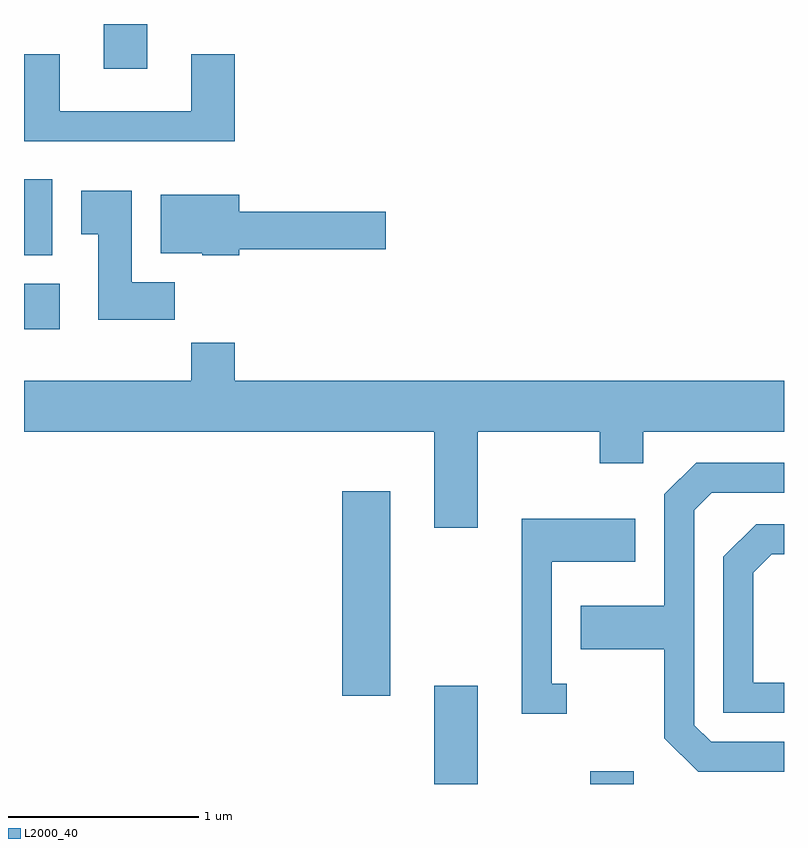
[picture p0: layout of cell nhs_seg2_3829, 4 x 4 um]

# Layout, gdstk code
import gdstk
lib = gdstk.Library(unit=1e-6, precision=1e-09)
def R(c, l, rs):  # rectangles x0, y0, x1, y1
    for r in rs: c.add(gdstk.rectangle(r[:2], r[2:], *l))
def P(c, l, *ps):  # polygons
    for p in ps: c.add(gdstk.Polygon(p, *l))
L2000_40 = (2000, 40)

nhs_seg2_3829 = lib.new_cell('nhs_seg2_3829')
R(nhs_seg2_3829, L2000_40, [(299.771,1039.802,299.999,1040.319), (300.591,1039.802,300.819,1039.869), (299.286,1040.266,299.539,1041.344), (297.611,1042.196,297.799,1042.434), (297.611,1042.586,297.759,1042.984), (298.031,1043.566,298.259,1043.802)])
P(nhs_seg2_3829, L2000_40, [(298.719,1043.644),(298.491,1043.644),(298.491,1043.344),(297.799,1043.344),(297.799,1043.644),(297.611,1043.644),(297.611,1043.186),(298.719,1043.186)],
  [(298.404,1042.444),(298.179,1042.444),(298.179,1042.924),(297.911,1042.924),(297.911,1042.696),(298.001,1042.696),(298.001,1042.246),(298.404,1042.246)],
  [(298.744,1042.616),(299.514,1042.616),(299.514,1042.814),(298.744,1042.814),(298.744,1042.904),(298.331,1042.904),(298.331,1042.596),(298.55,1042.596),(298.55,1042.586),(298.744,1042.586)],
  [(299.999,1041.656),(300.641,1041.656),(300.641,1041.491),(300.869,1041.491),(300.869,1041.656),(301.611,1041.656),(301.611,1041.924),(298.719,1041.924),(298.719,1042.124),(298.491,1042.124),(298.491,1041.924),(297.611,1041.924),(297.611,1041.656),(299.771,1041.656),(299.771,1041.151),(299.999,1041.151)],
  [(301.611,1040.024),(301.227,1040.024),(301.139,1040.112),(301.139,1041.244),(301.232,1041.336),(301.611,1041.336),(301.611,1041.494),(301.149,1041.494),(300.981,1041.327),(300.981,1040.739),(300.541,1040.739),(300.541,1040.511),(300.981,1040.511),(300.981,1040.044),(301.159,1039.866),(301.611,1039.866)],
  [(300.468,1040.329),(300.389,1040.329),(300.389,1040.971),(300.829,1040.971),(300.829,1041.199),(300.231,1041.199),(300.231,1040.171),(300.468,1040.171)],
  [(301.611,1040.334),(301.449,1040.334),(301.449,1040.914),(301.547,1041.011),(301.611,1041.011),(301.611,1041.169),(301.464,1041.169),(301.291,1040.997),(301.291,1040.176),(301.611,1040.176)])

lib.write_gds('nhs_seg2_3829.gds')
